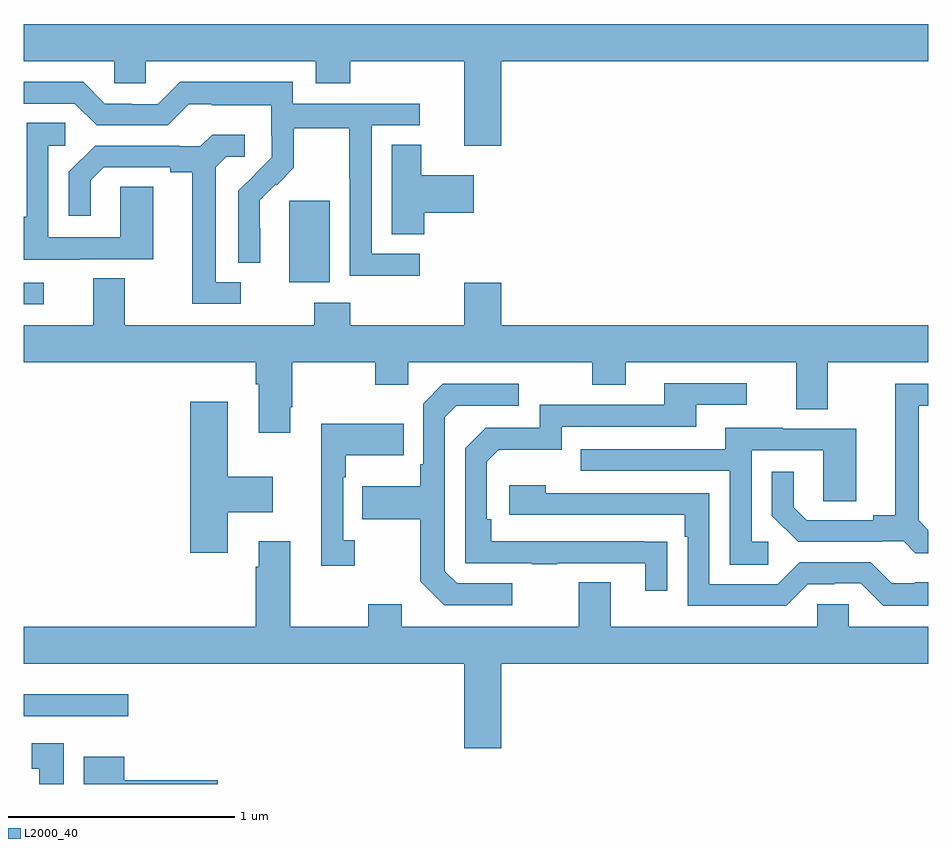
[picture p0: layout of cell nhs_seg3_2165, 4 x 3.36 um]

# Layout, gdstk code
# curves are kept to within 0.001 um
import gdstk
lib = gdstk.Library(unit=1e-6, precision=1e-09)
def R(c, l, rs):  # rectangles x0, y0, x1, y1
    for r in rs: c.add(gdstk.rectangle(r[:2], r[2:], *l))
def P(c, l, *ps):  # polygons
    for p in ps: c.add(gdstk.Polygon(p, *l))
L2000_40 = (2000, 40)

nhs_seg3_2165 = lib.new_cell('nhs_seg3_2165')
R(nhs_seg3_2165, L2000_40, [(223,684.699,223.462,684.796), (223,686.52,223.09,686.616), (224.174,686.618,224.353,686.979)])
P(nhs_seg3_2165, L2000_40, [(225.112,687.596),(227,687.596),(227,687.76),(223,687.76),(223,687.596),(223.401,687.596),(223.401,687.498),(223.539,687.498),(223.539,687.596),(224.291,687.596),(224.291,687.497),(224.444,687.497),(224.444,687.596),(224.948,687.596),(224.948,687.222),(225.112,687.222)],
  [(224.752,686.745),(224.538,686.745),(224.538,687.312),(224.752,687.312),(224.752,687.408),(224.19,687.408),(224.19,687.505),(223.693,687.505),(223.593,687.405),(223.478,687.405),(223.478,687.408),(223.359,687.408),(223.263,687.504),(223,687.504),(223,687.408),(223.227,687.408),(223.323,687.312),(223.638,687.312),(223.731,687.405),(223.831,687.405),(223.831,687.401),(224.094,687.401),(224.094,687.267),(224.096,687.267),(224.096,687.17),(223.95,687.022),(223.95,686.704),(224.046,686.704),(224.045,686.981),(224.115,687.051),(224.118,687.048),(224.195,687.125),(224.195,687.3),(224.44,687.3),(224.44,687.076),(224.442,687.076),(224.442,686.647),(224.752,686.647)],
  [(223.249,686.721),(223.573,686.721),(223.573,687.041),(223.428,687.041),(223.428,686.817),(223.11,686.817),(223.11,687.222),(223.183,687.222),(223.183,687.323),(223.014,687.323),(223.014,686.907),(223,686.907),(223,686.717),(223.249,686.717)],
  [(223.96,686.619),(223.849,686.619),(223.849,687.127),(223.896,687.174),(223.978,687.174),(223.978,687.271),(223.834,687.271),(223.782,687.219),(223.688,687.219),(223.688,687.222),(223.316,687.222),(223.2,687.106),(223.2,686.913),(223.297,686.913),(223.297,687.069),(223.354,687.126),(223.649,687.126),(223.649,687.104),(223.745,687.104),(223.745,686.523),(223.96,686.523)],
  [(224.771,686.926),(224.989,686.926),(224.989,687.091),(224.758,687.091),(224.758,687.227),(224.627,687.227),(224.627,686.83),(224.771,686.83)],
  [(223.307,686.636),(223.307,686.428),(223,686.428),(223,686.264),(224.027,686.264),(224.027,686.168),(224.039,686.168),(224.039,685.953),(224.179,685.953),(224.179,686.065),(224.187,686.065),(224.187,686.264),(224.554,686.264),(224.554,686.165),(224.7,686.165),(224.7,686.264),(225.514,686.264),(225.514,686.165),(225.661,686.165),(225.661,686.264),(226.415,686.264),(226.415,686.056),(226.555,686.056),(226.555,686.264),(227,686.264),(227,686.428),(225.112,686.428),(225.112,686.617),(224.948,686.617),(224.948,686.428),(224.444,686.428),(224.444,686.527),(224.284,686.527),(224.284,686.428),(223.447,686.428),(223.447,686.636)],
  [(225.845,685.472),(225.068,685.473),(225.068,685.57),(225.048,685.57),(225.048,685.824),(225.101,685.877),(225.378,685.877),(225.378,685.98),(225.973,685.98),(225.973,686.076),(226.198,686.076),(226.198,686.172),(225.833,686.172),(225.833,686.076),(225.282,686.076),(225.282,685.974),(225.042,685.974),(224.952,685.884),(224.952,685.377),(225.247,685.377),(225.247,685.372),(225.359,685.372),(225.359,685.377),(225.749,685.377),(225.749,685.254),(225.845,685.254)],
  [(225.16,685.287),(224.916,685.287),(224.862,685.341),(224.862,686.022),(224.913,686.073),(225.19,686.073),(225.19,686.169),(224.853,686.169),(224.766,686.082),(224.766,685.813),(224.754,685.813),(224.754,685.717),(224.497,685.717),(224.497,685.57),(224.754,685.57),(224.754,685.297),(224.859,685.191),(225.16,685.191)],
  [(227,685.522),(226.957,685.565),(226.957,686.073),(227,686.073),(227,686.169),(226.853,686.169),(226.853,685.589),(226.757,685.589),(226.757,685.566),(226.462,685.566),(226.405,685.623),(226.405,685.78),(226.308,685.78),(226.308,685.586),(226.424,685.47),(226.796,685.47),(226.796,685.473),(226.89,685.473),(226.942,685.421),(227,685.421)],
  [(223.903,685.601),(224.101,685.601),(224.101,685.759),(223.903,685.759),(223.903,686.089),(223.736,686.089),(223.736,685.422),(223.903,685.422)],
  [(224.464,685.478),(224.412,685.478),(224.412,685.757),(224.425,685.757),(224.425,685.853),(224.681,685.853),(224.681,685.993),(224.315,685.993),(224.315,685.365),(224.464,685.365)],
  [(226.291,685.47),(226.218,685.47),(226.218,685.875),(226.536,685.875),(226.536,685.651),(226.681,685.651),(226.681,685.971),(226.357,685.971),(226.357,685.975),(226.103,685.975),(226.103,685.881),(225.463,685.881),(225.463,685.785),(226.122,685.785),(226.122,685.369),(226.291,685.369)],
  [(227,685.291),(226.939,685.291),(226.939,685.287),(226.839,685.287),(226.746,685.38),(226.431,685.38),(226.335,685.284),(226.032,685.284),(226.032,685.686),(225.308,685.686),(225.308,685.72),(225.147,685.72),(225.147,685.59),(225.923,685.59),(225.923,685.493),(225.936,685.493),(225.936,685.188),(226.371,685.188),(226.467,685.284),(226.586,685.284),(226.586,685.287),(226.701,685.287),(226.801,685.187),(227,685.187)],
  [(227,685.096),(226.647,685.096),(226.647,685.194),(226.509,685.194),(226.509,685.096),(225.595,685.096),(225.595,685.291),(225.455,685.291),(225.455,685.096),(224.671,685.096),(224.671,685.195),(224.524,685.195),(224.524,685.096),(224.179,685.096),(224.179,685.474),(224.039,685.474),(224.039,685.361),(224.027,685.361),(224.027,685.096),(223,685.096),(223,684.932),(224.948,684.932),(224.948,684.558),(225.112,684.558),(225.112,684.932),(227,684.932)],
  [(223.177,684.58),(223.037,684.58),(223.037,684.467),(223.07,684.467),(223.07,684.4),(223.177,684.4)],
  [(223.858,684.416),(223.444,684.416),(223.444,684.52),(223.265,684.52),(223.265,684.4),(223.858,684.4)])

lib.write_gds('nhs_seg3_2165.gds')
